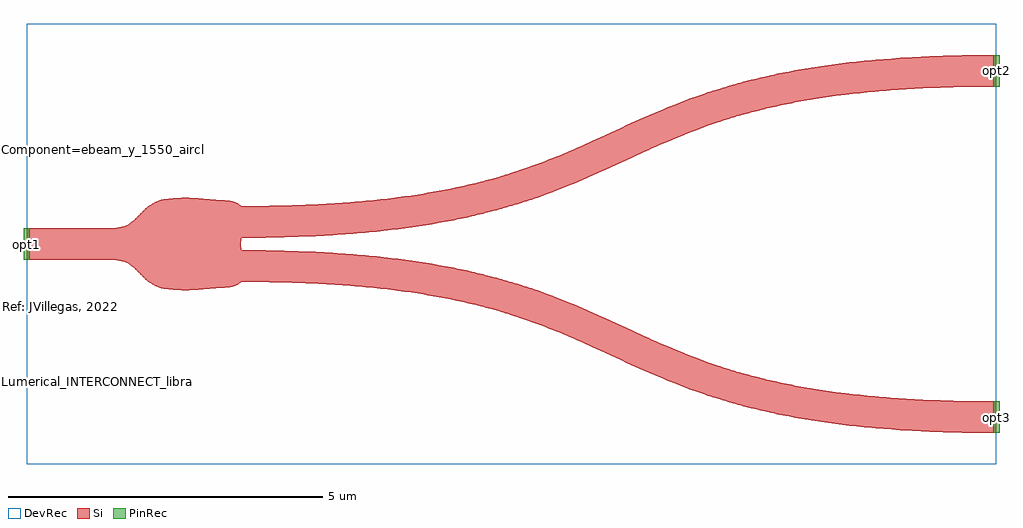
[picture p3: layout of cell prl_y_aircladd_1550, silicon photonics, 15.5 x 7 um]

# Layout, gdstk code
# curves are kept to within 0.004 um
import gdstk
lib = gdstk.Library(unit=1e-6, precision=1e-09)
def R(c, l, rs):  # rectangles x0, y0, x1, y1
    for r in rs: c.add(gdstk.rectangle(r[:2], r[2:], *l))
def P(c, l, *ps):  # polygons
    for p in ps: c.add(gdstk.Polygon(p, *l))
Si = (1, 0)
PinRec = (1, 10)
DevRec = (68, 0)

prl_y_aircladd_1550 = lib.new_cell('prl_y_aircladd_1550')
R(prl_y_aircladd_1550, Si, [(-7.4,-0.25,-6,0.25)])
P(prl_y_aircladd_1550, Si, [(-4.879,-0.733),(-5.202,-0.71),(-5.283,-0.694),(-5.343,-0.672),(-5.404,-0.639),(-5.485,-0.581),(-5.687,-0.387),(-5.768,-0.321),(-5.848,-0.282),(-6.01,-0.25),(-6.01,0.25),(-5.848,0.282),(-5.768,0.321),(-5.687,0.387),(-5.566,0.508),(-5.465,0.597),(-5.364,0.662),(-5.263,0.699),(-5.04,0.725),(-4.818,0.732),(-4.172,0.684),(-4.091,0.665),(-4.051,0.646),(-3.99,0.6),(-3.99,0.1),(-4.001,0),(-3.99,-0.1),(-3.99,-0.6),(-4.03,-0.633),(-4.071,-0.656),(-4.131,-0.677),(-4.172,-0.684),(-4.737,-0.728)],
  [(7.841,-3),(7.455,-2.995),(6.807,-2.973),(6.34,-2.945),(5.843,-2.902),(5.384,-2.848),(4.958,-2.784),(4.469,-2.691),(4.152,-2.618),(3.813,-2.528),(3.534,-2.444),(3.055,-2.277),(2.582,-2.086),(1.346,-1.527),(0.901,-1.342),(0.387,-1.156),(0.127,-1.075),(-0.189,-0.988),(-0.573,-0.898),(-1.09,-0.801),(-1.612,-0.727),(-1.952,-0.69),(-2.503,-0.645),(-2.967,-0.621),(-3.465,-0.605),(-4,-0.6),(-4,-0.1),(-3.455,-0.105),(-2.807,-0.127),(-2.34,-0.155),(-1.903,-0.192),(-1.384,-0.252),(-0.958,-0.316),(-0.469,-0.409),(-0.152,-0.482),(0.187,-0.572),(0.466,-0.656),(0.945,-0.823),(1.418,-1.014),(2.654,-1.573),(3.099,-1.758),(3.613,-1.944),(3.873,-2.025),(4.189,-2.112),(4.573,-2.202),(5.09,-2.299),(5.612,-2.373),(5.952,-2.41),(6.503,-2.455),(6.967,-2.479),(7.465,-2.495),(8,-2.5),(8,-3)],
  [(-4,0.1),(-4,0.6),(-3.465,0.605),(-2.967,0.621),(-2.503,0.645),(-1.952,0.69),(-1.612,0.727),(-1.09,0.801),(-0.573,0.898),(-0.189,0.988),(0.127,1.075),(0.387,1.156),(0.901,1.342),(1.346,1.527),(2.582,2.086),(3.055,2.277),(3.534,2.444),(3.813,2.528),(4.152,2.618),(4.469,2.691),(4.958,2.784),(5.384,2.848),(5.903,2.908),(6.34,2.945),(6.807,2.973),(7.455,2.995),(8,3),(8,2.5),(7.465,2.495),(6.967,2.479),(6.503,2.455),(5.952,2.41),(5.612,2.373),(5.09,2.299),(4.573,2.202),(4.189,2.112),(3.873,2.025),(3.613,1.944),(3.099,1.758),(2.654,1.573),(1.418,1.014),(0.945,0.823),(0.466,0.656),(0.187,0.572),(-0.152,0.482),(-0.469,0.409),(-0.958,0.316),(-1.384,0.252),(-1.903,0.192),(-2.34,0.155),(-2.807,0.127),(-3.455,0.105)])
R(prl_y_aircladd_1550, DevRec, [(-7.4,-3.5,8,3.5)])
prl_y_aircladd_1550.add(gdstk.FlexPath([(-7.35,0),(-7.45,0)], 0.5, ends="flush", simple_path=True, layer=1, datatype=10))  # PinRec
prl_y_aircladd_1550.add(gdstk.FlexPath([(7.95,-2.75),(8.05,-2.75)], 0.5, ends="flush", simple_path=True, layer=1, datatype=10))  # PinRec
prl_y_aircladd_1550.add(gdstk.FlexPath([(7.95,2.75),(8.05,2.75)], 0.5, ends="flush", simple_path=True, layer=1, datatype=10))  # PinRec
prl_y_aircladd_1550.add(gdstk.Label('Component=ebeam_y_1550_aircladd', (-7.17,1.5), layer=68, texttype=0))
prl_y_aircladd_1550.add(gdstk.Label('Lumerical_INTERCONNECT_library=NA', (-7.16,-2.19), layer=68, texttype=0))
prl_y_aircladd_1550.add(gdstk.Label('opt2', (8,2.75), layer=1, texttype=10))
prl_y_aircladd_1550.add(gdstk.Label('opt1', (-7.4,0), layer=1, texttype=10))
prl_y_aircladd_1550.add(gdstk.Label('opt3', (8,-2.75), layer=1, texttype=10))
prl_y_aircladd_1550.add(gdstk.Label('Ref: JVillegas, 2022', (-7.2,-1), layer=10, texttype=0))

lib.write_gds('prl_y_aircladd_1550.gds')
